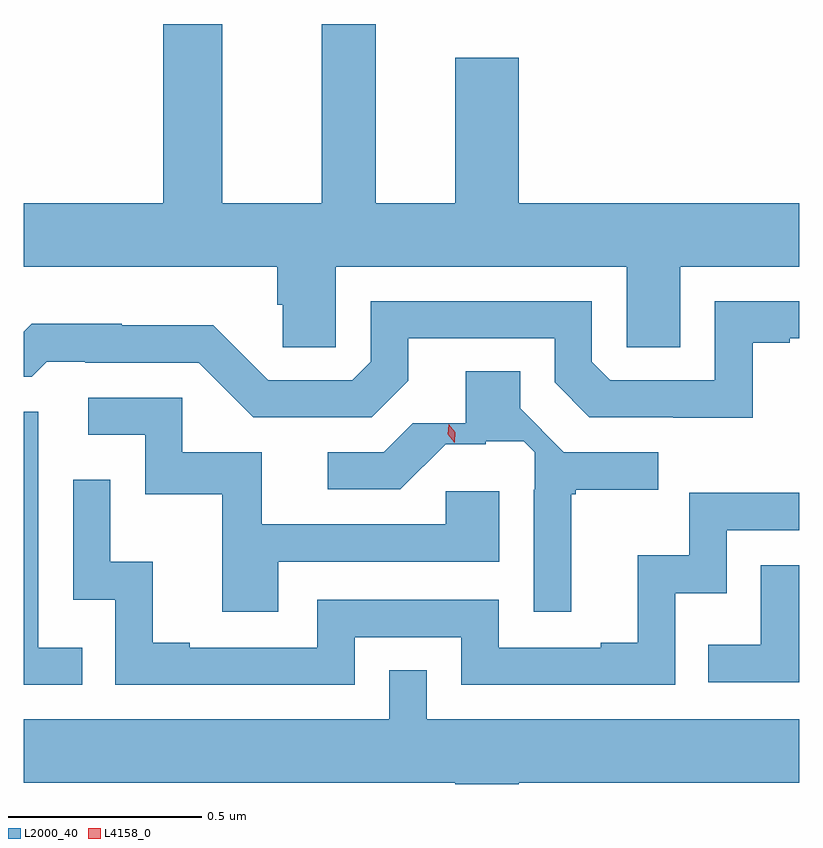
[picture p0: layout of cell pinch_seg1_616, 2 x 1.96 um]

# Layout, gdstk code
import gdstk
lib = gdstk.Library(unit=1e-6, precision=1e-09)
def P(c, l, *ps):  # polygons
    for p in ps: c.add(gdstk.Polygon(p, *l))
L2000_40 = (2000, 40)
L4158_0 = (4158, 0)

pinch_seg1_616 = lib.new_cell('pinch_seg1_616')
P(pinch_seg1_616, L2000_40, [(1123.74,509.108),(1124.49,509.108),(1124.49,508.9),(1124.629,508.9),(1124.629,509.108),(1124.935,509.108),(1124.935,509.272),(1124.212,509.272),(1124.212,509.647),(1124.048,509.647),(1124.048,509.272),(1123.843,509.272),(1123.843,509.734),(1123.703,509.734),(1123.703,509.272),(1123.447,509.272),(1123.447,509.734),(1123.295,509.734),(1123.295,509.272),(1122.935,509.272),(1122.935,509.108),(1123.589,509.108),(1123.589,509.01),(1123.603,509.01),(1123.603,508.9),(1123.74,508.9)],
  [(1124.815,508.911),(1124.911,508.911),(1124.911,508.923),(1124.935,508.923),(1124.935,509.019),(1124.718,509.019),(1124.718,508.815),(1124.448,508.815),(1124.4,508.863),(1124.4,509.019),(1123.83,509.019),(1123.83,508.863),(1123.782,508.815),(1123.566,508.815),(1123.424,508.957),(1123.188,508.957),(1123.188,508.96),(1122.955,508.96),(1122.935,508.94),(1122.935,508.824),(1122.955,508.824),(1122.994,508.863),(1123.093,508.863),(1123.093,508.86),(1123.386,508.86),(1123.527,508.719),(1123.833,508.719),(1123.927,508.813),(1123.927,508.923),(1124.304,508.923),(1124.304,508.809),(1124.394,508.719),(1124.61,508.719),(1124.61,508.718),(1124.815,508.718)],
  [(1124.347,508.521),(1124.359,508.521),(1124.359,508.532),(1124.572,508.532),(1124.572,508.629),(1124.328,508.629),(1124.215,508.742),(1124.215,508.838),(1124.075,508.838),(1124.075,508.704),(1123.938,508.704),(1123.863,508.629),(1123.719,508.629),(1123.719,508.533),(1123.906,508.533),(1124.023,508.65),(1124.127,508.65),(1124.127,508.658),(1124.224,508.658),(1124.253,508.629),(1124.253,508.532),(1124.25,508.532),(1124.25,508.218),(1124.347,508.218)],
  [(1123.591,508.347),(1124.161,508.347),(1124.161,508.529),(1124.023,508.529),(1124.023,508.443),(1123.549,508.443),(1123.549,508.629),(1123.344,508.629),(1123.344,508.77),(1123.101,508.77),(1123.101,508.674),(1123.248,508.674),(1123.248,508.521),(1123.447,508.521),(1123.447,508.218),(1123.591,508.218)],
  [(1123.085,508.125),(1122.972,508.125),(1122.972,508.734),(1122.935,508.734),(1122.935,508.029),(1123.085,508.029)],
  [(1123.788,508.152),(1124.064,508.152),(1124.064,508.029),(1124.616,508.029),(1124.616,508.265),(1124.748,508.265),(1124.748,508.428),(1124.935,508.428),(1124.935,508.524),(1124.652,508.524),(1124.652,508.363),(1124.519,508.363),(1124.519,508.138),(1124.423,508.138),(1124.423,508.125),(1124.16,508.125),(1124.16,508.248),(1123.692,508.248),(1123.692,508.125),(1123.363,508.125),(1123.363,508.138),(1123.268,508.138),(1123.268,508.346),(1123.158,508.346),(1123.158,508.558),(1123.062,508.558),(1123.062,508.248),(1123.17,508.248),(1123.17,508.029),(1123.788,508.029)],
  [(1124.935,508.338),(1124.836,508.338),(1124.836,508.132),(1124.701,508.132),(1124.701,508.035),(1124.935,508.035)],
  [(1124.212,507.776),(1124.935,507.776),(1124.935,507.94),(1123.974,507.94),(1123.974,508.067),(1123.878,508.067),(1123.878,507.94),(1122.935,507.94),(1122.935,507.776),(1124.048,507.776),(1124.048,507.773),(1124.212,507.773)])
P(pinch_seg1_616, L4158_0, [(1124.045,508.654),(1124.045,508.655),(1124.029,508.675),(1124.031,508.701),(1124.031,508.701),(1124.031,508.701),(1124.048,508.681),(1124.046,508.655)])

lib.write_gds('pinch_seg1_616.gds')
